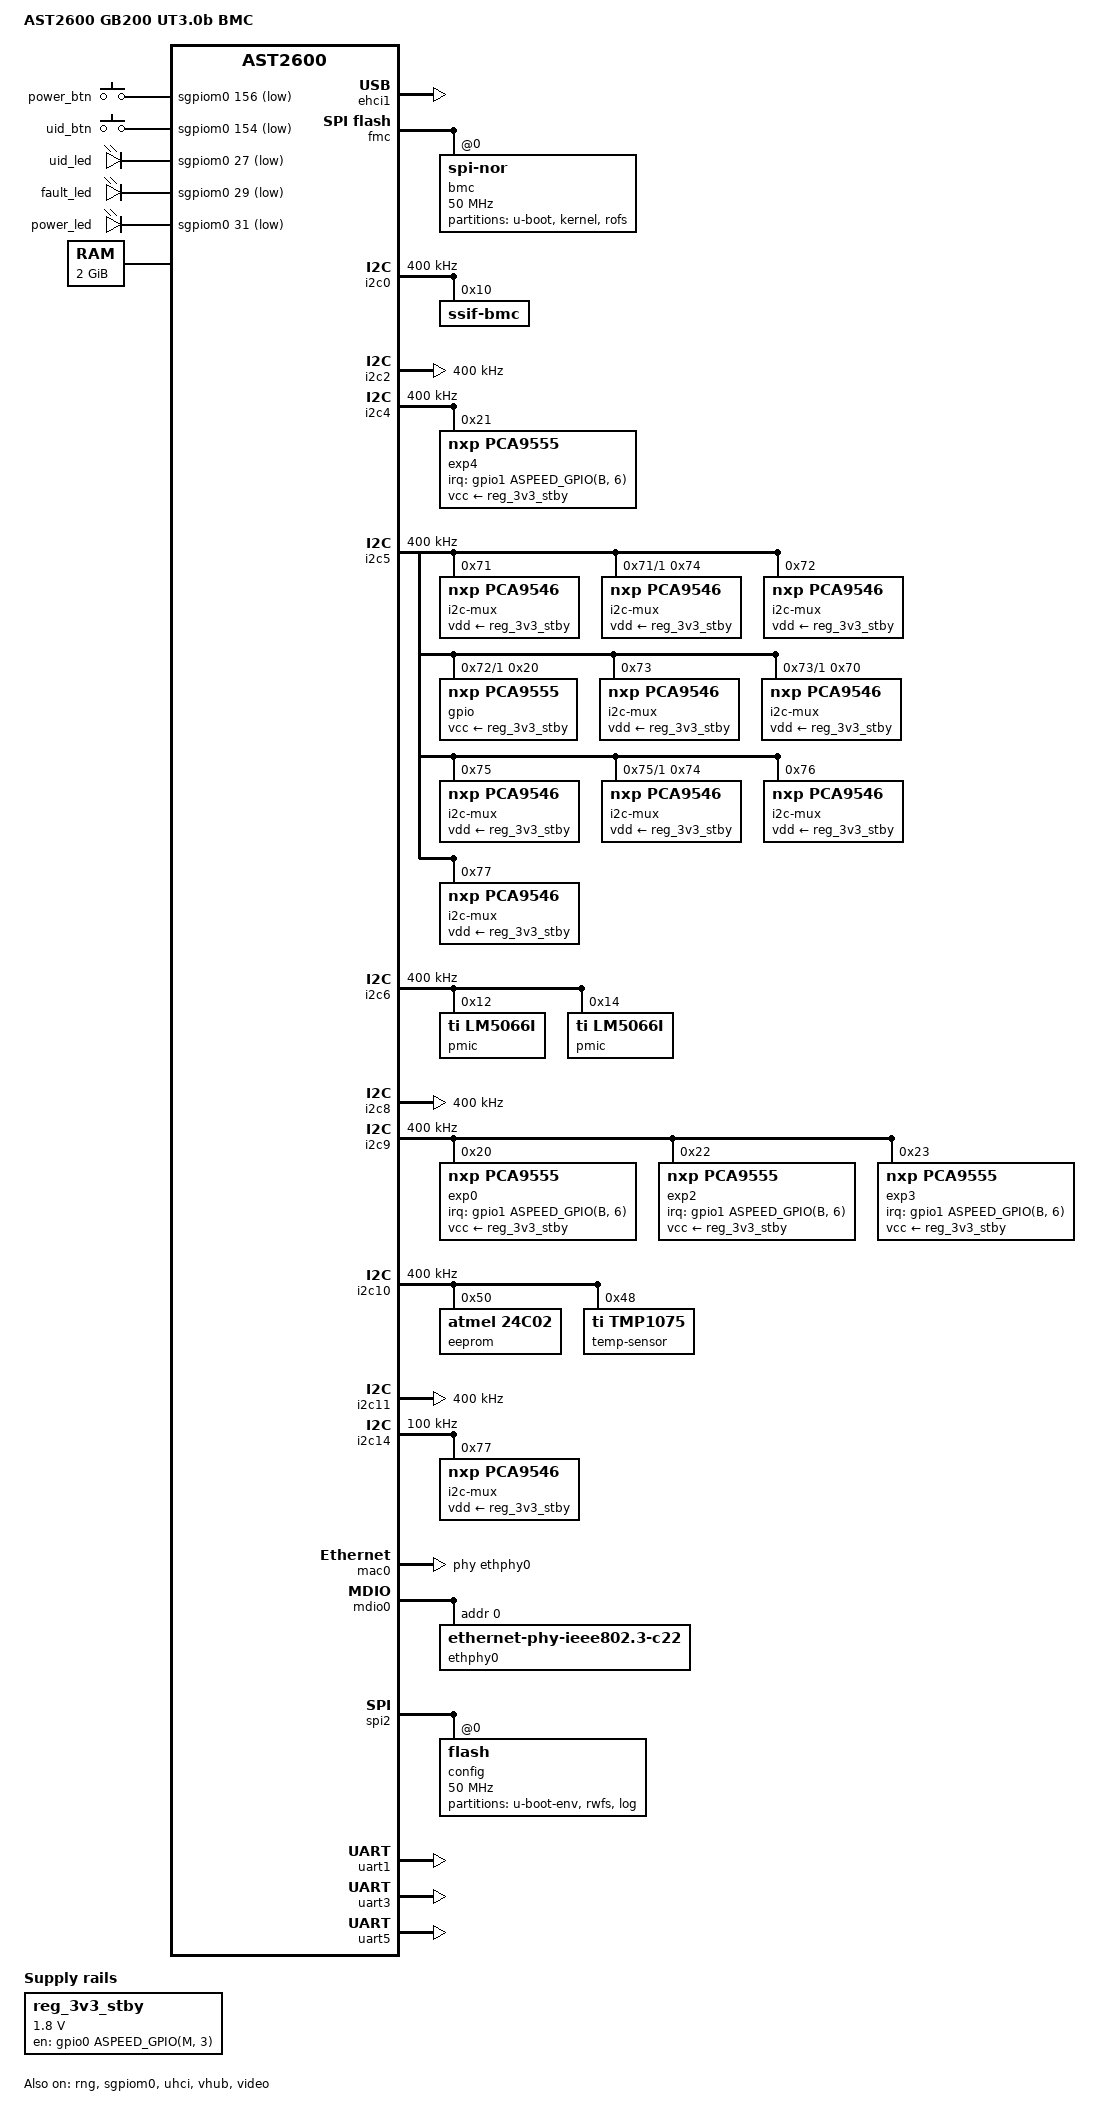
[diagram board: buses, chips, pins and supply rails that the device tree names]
// SPDX-License-Identifier: GPL-2.0+
/dts-v1/;

#include "aspeed-g6.dtsi"
#include <dt-bindings/gpio/aspeed-gpio.h>

/ {
	model = "AST2600 GB200 UT3.0b BMC";
	compatible = "nvidia,gb200-ut30b", "aspeed,ast2600";

	aliases {
		serial2 = &uart3;
		serial4 = &uart5;
		i2c16   = &imux16;
		i2c17   = &imux17;
		i2c18   = &imux18;
		i2c19   = &imux19;
		i2c20   = &imux20;
		i2c21   = &imux21;
		i2c22   = &imux22;
		i2c23   = &imux23;
		i2c24   = &imux24;
		i2c25   = &imux25;
		i2c26   = &imux26;
		i2c27   = &imux27;
		i2c28   = &imux28;
		i2c29   = &imux29;
		i2c30   = &imux30;
		i2c31   = &imux31;
		i2c32   = &imux32;
		i2c33   = &imux33;
		i2c34   = &imux34;
		i2c35   = &imux35;
		i2c36   = &imux36;
		i2c37   = &imux37;
		i2c38   = &imux38;
		i2c39   = &imux39;
		i2c40	= &e1si2c0;
		i2c41	= &e1si2c1;
		i2c42	= &e1si2c2;
		i2c43	= &e1si2c3;
		i2c48	= &i2c17mux0;
		i2c49	= &i2c17mux1;
		i2c50	= &i2c17mux2;
		i2c51	= &i2c17mux3;
		i2c52	= &i2c25mux0;
		i2c53	= &i2c25mux1;
		i2c54	= &i2c25mux2;
		i2c55	= &i2c25mux3;
		i2c56	= &i2c29mux0;
		i2c57	= &i2c29mux1;
		i2c58	= &i2c29mux2;
		i2c59	= &i2c29mux3;
	};

	buttons {
		compatible = "gpio-keys";
		button-power {
			label = "power_btn";
			linux,code = <116>;
			gpios = <&sgpiom0 156 GPIO_ACTIVE_LOW>;
		};
		button-uid {
			label = "uid_btn";
			linux,code = <478>;
			gpios = <&sgpiom0 154 GPIO_ACTIVE_LOW>;
		};
	};

	chosen {
		stdout-path = &uart5;
	};

	leds {
		compatible = "gpio-leds";
		led-0 {
			label = "uid_led";
			gpios = <&sgpiom0 27 GPIO_ACTIVE_LOW>;
		};
		led-1 {
			label = "fault_led";
			gpios = <&sgpiom0 29 GPIO_ACTIVE_LOW>;
		};
		led-2 {
			label = "power_led";
			gpios = <&sgpiom0 31 GPIO_ACTIVE_LOW>;
		};
	};

	memory@80000000 {
		device_type = "memory";
		reg = <0x80000000 0x80000000>;
	};

	reg_3v3_stby: regulator-3v3-standby {
		compatible = "regulator-fixed";
		regulator-name = "3v3-standby";
		regulator-min-microvolt = <1800000>;
		regulator-max-microvolt = <1800000>;
		gpio = <&gpio0 ASPEED_GPIO(M, 3) GPIO_ACTIVE_HIGH>;
		enable-active-high;
		regulator-always-on;
	};

	reserved-memory {
		#address-cells = <1>;
		#size-cells = <1>;
		ranges;

		gfx_memory: framebuffer {
			compatible = "shared-dma-pool";
			reusable;
			size = <0x01000000>;
			alignment = <0x01000000>;
		};

		ramoops@a0000000 {
			compatible = "ramoops";
			reg = <0xa0000000 0x100000>; /* 1MB */
			record-size = <0x10000>; /* 64KB */
			max-reason = <2>; /* KMSG_DUMP_OOPS */
		};

		vga_memory: framebuffer@9f000000 {
			no-map;
			reg = <0x9f000000 0x01000000>; /* 16M */
		};

		video_engine_memory: jpegbuffer {
			compatible = "shared-dma-pool";
			reusable;
			size = <0x02000000>;	/* 32M */
			alignment = <0x01000000>;
		};
	};
};

// USB Port B Controller
&ehci1 {
	status = "okay";
};

// Need custom layout for Root of Trust
&fmc {
	status = "okay";
	flash@0 {
		compatible = "jedec,spi-nor";
		label = "bmc";
		spi-max-frequency = <50000000>;
		status = "okay";
		partitions {
			compatible = "fixed-partitions";
			#address-cells = <1>;
			#size-cells = <1>;

			u-boot@0 {
				// 896KB
				reg = <0x0 0xe0000>;
				label = "u-boot";
			};

			kernel@100000 {
				// 9MB
				reg = <0x100000 0x900000>;
				label = "kernel";
			};

			rofs@a00000 {
				// 55292KB (extends to end of 64MB SPI - 4KB)
				reg = <0xa00000 0x35FF000>;
				label = "rofs";
			};
		};
	};
};

&gpio0 {
	gpio-line-names =
		/*A0-A7*/ "", "", "", "", "", "", "", "",
		/*B0-B7*/ "", "", "", "", "", "", "", "",
		/*C0-C7*/ "SGPIO_I2C_MUX_SEL-O", "", "", "", "", "", "", "",
		/*D0-D7*/ "", "", "", "UART1_MUX_SEL-O", "", "FPGA_PEX_RST_L-O", "", "",
		/*E0-E7*/ "RTL8221_PHY_RST_L-O", "RTL8211_PHY_INT_L-I",	"", "UART3_MUX_SEL-O",
					"", "", "", "SGPIO_BMC_EN-O",
		/*F0-F7*/ "", "", "", "", "", "", "", "",
		/*G0-G7*/ "", "", "", "", "", "", "", "",
		/*H0-H7*/ "", "", "", "", "", "", "", "",
		/*I0-I7*/ "", "", "", "", "", "QSPI2_RST_L-O", "GLOBAL_WP_BMC-O", "BMC_DDR4_TEN-O",
		/*J0-J7*/ "", "", "", "", "", "", "", "",
		/*K0-K7*/ "", "", "", "", "", "", "", "",
		/*L0-L7*/ "", "", "", "", "", "", "", "",
		/*M0-M7*/ "PCIE_EP_RST_EN-O", "BMC_FRU_WP-O", "FPGA_RST_L-O", "STBY_POWER_EN-O",
					"STBY_POWER_PG-I", "PCIE_EP_RST_L-O", "", "",
		/*N0-N7*/ "", "", "", "", "", "", "", "",
		/*O0-O7*/ "", "", "", "", "", "", "", "",
		/*P0-P7*/ "", "", "", "", "", "", "", "",
		/*Q0-Q7*/ "", "", "", "", "", "", "", "",
		/*R0-R7*/ "", "", "", "", "", "", "", "",
		/*S0-S7*/ "", "", "", "", "", "", "", "",
		/*T0-T7*/ "", "", "", "", "", "", "", "",
		/*U0-U7*/ "", "", "", "", "", "", "", "",
		/*V0-V7*/ "AP_EROT_REQ-O", "EROT_AP_GNT-I", "", "","PCB_TEMP_ALERT-I", "","", "",
		/*W0-W7*/ "", "", "", "", "", "", "", "",
		/*X0-X7*/ "", "", "TPM_MUX_SEL-O", "", "", "", "", "",
		/*Y0-Y7*/ "", "", "", "EMMC_RST-O", "","", "", "",
		/*Z0-Z7*/ "BMC_READY-O","", "", "", "", "", "", "";
};

&gpio1 {
	/* 36 1.8V GPIOs */
	gpio-line-names =
		/*A0-A7*/ "", "", "", "", "", "", "", "",
		/*B0-B7*/ "", "", "", "", "", "", "IO_EXPANDER_INT_L-I","",
		/*C0-C7*/ "", "", "", "", "", "", "", "",
		/*D0-D7*/ "", "", "", "", "", "", "SPI_HOST_TPM_RST_L-O", "SPI_BMC_FPGA_INT_L-I",
		/*E0-E7*/ "", "", "", "", "", "", "", "";
};

// I2C1, SSIF IPMI interface
&i2c0 {
	clock-frequency = <400000>;
	status = "okay";
	ssif-bmc@10 {
		compatible = "ssif-bmc";
		reg = <0x10>;
	};
};

// I2C3
// BMC_I2C0_FPGA - Primary FPGA
&i2c2 {
	clock-frequency = <400000>;
	multi-master;
	status = "okay";
};

// I2C5
// RTC Driver
// IO Expander
&i2c4 {
	clock-frequency = <400000>;
	status = "okay";
	// Module 0, Expander @0x21
	exp4: gpio@21 {
		compatible = "nxp,pca9555";
		reg = <0x21>;
		gpio-controller;
		#gpio-cells = <2>;
		interrupt-controller;
		#interrupt-cells = <2>;
		interrupt-parent = <&gpio1>;
		interrupts = <ASPEED_GPIO(B, 6) IRQ_TYPE_LEVEL_LOW>;
		vcc-supply = <&reg_3v3_stby>;
		gpio-line-names =
			"RTC_MUX_SEL-O",
			"PCI_MUX_SEL-O",
			"TPM_MUX_SEL-O",
			"FAN_MUX-SEL-O",
			"SGMII_MUX_SEL-O",
			"DP_MUX_SEL-O",
			"UPHY3_USB_SEL-O",
			"NCSI_MUX_SEL-O",
			"BMC_PHY_RST-O",
			"RTC_CLR_L-O",
			"BMC_12V_CTRL-O",
			"PS_RUN_IO0_PG-I",
			"",
			"",
			"",
			"";
	};
};

// I2C6
// Module 0/1 I2C MUX x3
&i2c5 {
	clock-frequency = <400000>;
	multi-master;
	status = "okay";

	i2c-mux@71 {
		compatible = "nxp,pca9546";
		reg = <0x71>;
		#address-cells = <1>;
		#size-cells = <0>;
		i2c-mux-idle-disconnect;
		vdd-supply = <&reg_3v3_stby>;

		imux16: i2c@0 {
			#address-cells = <1>;
			#size-cells = <0>;
			reg = <0>;
		};

		imux17: i2c@1 {
			#address-cells = <1>;
			#size-cells = <0>;
			reg = <1>;

			i2c-mux@74 {
				compatible = "nxp,pca9546";
				reg = <0x74>;
				#address-cells = <1>;
				#size-cells = <0>;
				i2c-mux-idle-disconnect;
				vdd-supply = <&reg_3v3_stby>;

				i2c17mux0: i2c@0 {
					#address-cells = <1>;
					#size-cells = <0>;
					reg = <0>;
				};

				i2c17mux1: i2c@1 {
					#address-cells = <1>;
					#size-cells = <0>;
					reg = <1>;
				};

				i2c17mux2: i2c@2 {
					#address-cells = <1>;
					#size-cells = <0>;
					reg = <2>;
				};

				i2c17mux3: i2c@3 {
					#address-cells = <1>;
					#size-cells = <0>;
					reg = <3>;
				};
			};
		};

		imux18: i2c@2 {
			#address-cells = <1>;
			#size-cells = <0>;
			reg = <2>;
		};

		imux19: i2c@3 {
			#address-cells = <1>;
			#size-cells = <0>;
			reg = <3>;
		};
	};

	i2c-mux@72 {
		compatible = "nxp,pca9546";
		reg = <0x72>;
		#address-cells = <1>;
		#size-cells = <0>;
		i2c-mux-idle-disconnect;
		vdd-supply = <&reg_3v3_stby>;

		imux20: i2c@0 {
			reg = <0>;
			#address-cells = <1>;
			#size-cells = <0>;
		};

		imux21: i2c@1 {
			reg = <1>;
			#address-cells = <1>;
			#size-cells = <0>;

			gpio@20 {
				compatible = "nxp,pca9555";
				reg = <0x20>;
				gpio-controller;
				#gpio-cells = <2>;
				vcc-supply = <&reg_3v3_stby>;
				gpio-line-names =
					"RST_CX_0_L-O",
					"RST_CX_1_L-O",
					"CX0_SSD0_PRSNT_L-I",
					"CX1_SSD1_PRSNT_L-I",
					"CX_BOOT_CMPLT_CX0-I",
					"CX_BOOT_CMPLT_CX1-I",
					"CX_TWARN_CX0_L-I",
					"CX_TWARN_CX1_L-I",
					"CX_OVT_SHDN_CX0-I",
					"CX_OVT_SHDN_CX1-I",
					"FNP_L_CX0-O",
					"FNP_L_CX1-O",
					"",
					"MCU_GPIO-I",
					"MCU_RST_N-O",
					"MCU_RECOVERY_N-O";
			};
		};

		imux22: i2c@2 {
			reg = <2>;
			#address-cells = <1>;
			#size-cells = <0>;
		};

		imux23: i2c@3 {
			reg = <3>;
			#address-cells = <1>;
			#size-cells = <0>;
		};
	};

	i2c-mux@73 {
		compatible = "nxp,pca9546";
		reg = <0x73>;
		#address-cells = <1>;
		#size-cells = <0>;
		i2c-mux-idle-disconnect;
		vdd-supply = <&reg_3v3_stby>;

		imux24: i2c@0 {
			reg = <0>;
			#address-cells = <1>;
			#size-cells = <0>;
		};

		imux25: i2c@1 {
			reg = <1>;
			#address-cells = <1>;
			#size-cells = <0>;

			i2c-mux@70 {
				compatible = "nxp,pca9546";
				reg = <0x70>;
				#address-cells = <1>;
				#size-cells = <0>;
				i2c-mux-idle-disconnect;
				vdd-supply = <&reg_3v3_stby>;

				i2c25mux0: i2c@0 {
					reg = <0>;
					#address-cells = <1>;
					#size-cells = <0>;
				};

				i2c25mux1: i2c@1 {
					reg = <1>;
					#address-cells = <1>;
					#size-cells = <0>;
				};

				i2c25mux2: i2c@2 {
					reg = <2>;
					#address-cells = <1>;
					#size-cells = <0>;
				};

				i2c25mux3: i2c@3 {
					reg = <3>;
					#address-cells = <1>;
					#size-cells = <0>;
				};
			};
		};

		imux26: i2c@2 {
			reg = <2>;
			#address-cells = <1>;
			#size-cells = <0>;
		};

		imux27: i2c@3 {
			reg = <3>;
			#address-cells = <1>;
			#size-cells = <0>;
		};
	};

	i2c-mux@75 {
		compatible = "nxp,pca9546";
		reg = <0x75>;
		#address-cells = <1>;
		#size-cells = <0>;
		i2c-mux-idle-disconnect;
		vdd-supply = <&reg_3v3_stby>;

		imux28: i2c@0 {
			reg = <0>;
			#address-cells = <1>;
			#size-cells = <0>;
		};

		imux29: i2c@1 {
			reg = <1>;
			#address-cells = <1>;
			#size-cells = <0>;

			i2c-mux@74 {
				compatible = "nxp,pca9546";
				reg = <0x74>;
				#address-cells = <1>;
				#size-cells = <0>;
				i2c-mux-idle-disconnect;
				vdd-supply = <&reg_3v3_stby>;

				i2c29mux0: i2c@0 {
					reg = <0>;
					#address-cells = <1>;
					#size-cells = <0>;
				};

				i2c29mux1: i2c@1 {
					reg = <1>;
					#address-cells = <1>;
					#size-cells = <0>;
				};

				i2c29mux2: i2c@2 {
					reg = <2>;
					#address-cells = <1>;
					#size-cells = <0>;
				};

				i2c29mux3: i2c@3 {
					reg = <3>;
					#address-cells = <1>;
					#size-cells = <0>;
				};
			};
		};

		imux30: i2c@2 {
			reg = <2>;
			#address-cells = <1>;
			#size-cells = <0>;
		};

		imux31: i2c@3 {
			reg = <3>;
			#address-cells = <1>;
			#size-cells = <0>;
		};
	};

	i2c-mux@76 {
		compatible = "nxp,pca9546";
		reg = <0x76>;
		#address-cells = <1>;
		#size-cells = <0>;
		i2c-mux-idle-disconnect;
		vdd-supply = <&reg_3v3_stby>;

		imux32: i2c@0 {
			reg = <0>;
			#address-cells = <1>;
			#size-cells = <0>;
		};

		imux33: i2c@1 {
			reg = <1>;
			#address-cells = <1>;
			#size-cells = <0>;
		};

		imux34: i2c@2 {
			reg = <2>;
			#address-cells = <1>;
			#size-cells = <0>;
		};

		imux35: i2c@3 {
			reg = <3>;
			#address-cells = <1>;
			#size-cells = <0>;
		};
	};

	i2c-mux@77 {
		compatible = "nxp,pca9546";
		reg = <0x77>;
		#address-cells = <1>;
		#size-cells = <0>;
		i2c-mux-idle-disconnect;
		vdd-supply = <&reg_3v3_stby>;

		imux36: i2c@0 {
			reg = <0>;
			#address-cells = <1>;
			#size-cells = <0>;
		};

		imux37: i2c@1 {
			reg = <1>;
			#address-cells = <1>;
			#size-cells = <0>;
		};

		imux38: i2c@2 {
			reg = <2>;
			#address-cells = <1>;
			#size-cells = <0>;
		};

		imux39: i2c@3 {
			reg = <3>;
			#address-cells = <1>;
			#size-cells = <0>;
		};
	};
};

// I2C7
// Module 0/1 Leak Sensors
// Module 0/1 Fan Controllers
&i2c6 {
	clock-frequency = <400000>;
	status = "okay";

	pmic@12 {
		compatible = "ti,lm5066i";
		reg = <0x12>;
		shunt-resistor-micro-ohms = <190>;
	};

	pmic@14 {
		compatible = "ti,lm5066i";
		reg = <0x14>;
		shunt-resistor-micro-ohms = <190>;
	};

	pwm@20 {
		compatible = "maxim,max31790";
		reg = <0x20>;
	};

	pwm@23 {
		compatible = "maxim,max31790";
		reg = <0x23>;
	};

	pwm@2c {
		compatible = "maxim,max31790";
		reg = <0x2c>;
	};

	pwm@2f {
		compatible = "maxim,max31790";
		reg = <0x2f>;
	};
};

// I2C9
// M.2
&i2c8 {
	clock-frequency = <400000>;
	multi-master;
	status = "okay";
};

// I2C10
// Module 0/1 IO Expanders
&i2c9 {
	clock-frequency = <400000>;
	status = "okay";

	// Module 0, Expander @0x20
	exp0: gpio@20 {
		compatible = "nxp,pca9555";
		reg = <0x20>;
		gpio-controller;
		#gpio-cells = <2>;
		interrupt-controller;
		#interrupt-cells = <2>;
		interrupt-parent = <&gpio1>;
		interrupts = <ASPEED_GPIO(B, 6) IRQ_TYPE_LEVEL_LOW>;
		vcc-supply = <&reg_3v3_stby>;
		gpio-line-names =
			"FPGA_THERM_OVERT_L-I",
			"FPGA_READY_BMC-I",
			"HMC_BMC_DETECT-O",
			"HMC_PGOOD-O",
			"",
			"BMC_STBY_CYCLE-O",
			"FPGA_EROT_FATAL_ERROR_L-I",
			"WP_HW_EXT_CTRL_L-O",
			"EROT_FPGA_RST_L-O",
			"FPGA_EROT_RECOVERY_L-O",
			"BMC_EROT_FPGA_SPI_MUX_SEL-O",
			"USB_HUB_RESET_L-O",
			"NCSI_CS1_SEL-O",
			"SGPIO_EN_L-O",
			"B2B_IOEXP_INT_L-I",
			"I2C_BUS_MUX_RESET_L-O";
	};

	// UT3.0b Expander @0x22
	exp2: gpio@22 {
		compatible = "nxp,pca9555";
		reg = <0x22>;
		gpio-controller;
		#gpio-cells = <2>;
		interrupt-controller;
		#interrupt-cells = <2>;
		interrupt-parent = <&gpio1>;
		interrupts = <ASPEED_GPIO(B, 6) IRQ_TYPE_LEVEL_LOW>;
		vcc-supply = <&reg_3v3_stby>;
		gpio-line-names =
			"BMC1_FANCTRL_FAIL_L-I",
			"IOEXP_BMC_RST_12V-O",
			"NODE_RST_STBY_H-O",
			"",
			"",
			"",
			"",
			"",
			"",
			"",
			"",
			"",
			"",
			"",
			"",
			"";
	};

	// UT3.0b Expander @0x23
	exp3: gpio@23 {
		compatible = "nxp,pca9555";
		reg = <0x23>;
		gpio-controller;
		#gpio-cells = <2>;
		interrupt-controller;
		#interrupt-cells = <2>;
		interrupt-parent = <&gpio1>;
		interrupts = <ASPEED_GPIO(B, 6) IRQ_TYPE_LEVEL_LOW>;
		vcc-supply = <&reg_3v3_stby>;
		gpio-line-names =
			"PEXSW_FL_SPI_MUX_SEL-O",
			"PEX_SW_FATAL_ERROR_3V3_L-I",
			"IOEXP_PDB_NODE_EN_L-O",
			"NODE_PWOK_ISO-I",
			"BMC_FAN_PWR_EN-O",
			"BMC_ETHERNET_INT-I",
			"BMC_ENET_RST-O",
			"IOEXP_BMC_RST_SENSE-O",
			"BMC_ID-I",
			"TPM_MUX_3V3_SEL_N-O",
			"IOEXP_TPM_RST_N-O",
			"TPM_DOWN_SPI_INT_L-I",
			"PS_BRD_PGOOD-I",
			"FP_BUTTON_POWER_N-I",
			"FP_BUTTON_RESET_N-I",
			"FP_LED_POWER_GPIOEXP_N-O";
	};
};

// I2C11
// BMC FRU EEPROM
// BMC Temp Sensor
&i2c10 {
	clock-frequency = <400000>;
	status = "okay";

	// BMC FRU EEPROM - 256 bytes
	eeprom@50 {
		compatible = "atmel,24c02";
		reg = <0x50>;
		pagesize = <8>;
	};

	temp-sensor@48 {
		compatible = "ti,tmp1075";
		reg = <0x48>;
	};
};

// I2C12
&i2c11 {
	clock-frequency = <400000>;
	status = "okay";
};

// I2C15
// Module 1 UPHY3 SMBus
&i2c14 {
	clock-frequency = <100000>;
	multi-master;
	status = "okay";

	//E1.S drive slot 0-3
	i2c-mux@77 {
		compatible = "nxp,pca9546";
		reg = <0x77>;
		#address-cells = <1>;
		#size-cells = <0>;
		i2c-mux-idle-disconnect;
		vdd-supply = <&reg_3v3_stby>;

		e1si2c0: i2c@0 {
			reg = <0>;
			#address-cells = <1>;
			#size-cells = <0>;
		};

		e1si2c1: i2c@1 {
			reg = <1>;
			#address-cells = <1>;
			#size-cells = <0>;
		};

		e1si2c2: i2c@2 {
			reg = <2>;
			#address-cells = <1>;
			#size-cells = <0>;
		};

		e1si2c3: i2c@3 {
			reg = <3>;
			#address-cells = <1>;
			#size-cells = <0>;
		};
	};
};

&mac0 {
	pinctrl-names = "default";
	phy-handle = <&ethphy0>;
	pinctrl-0 = <&pinctrl_rgmii1_default>;
	status = "okay";
};

&mdio0 {
	status = "okay";
	ethphy0: ethernet-phy@0 {
		compatible = "ethernet-phy-ieee802.3-c22";
		reg = <0>;
	};
};

&rng {
	status = "okay";
};

&sgpiom0 {
	ngpios = <128>;
	status = "okay";
	gpio-line-names =
		"","",
		"","",
		"","",
		"","",
		"","",
		"","",
		"","",
		"","",
		"RUN_POWER_FAULT_L-I","SYS_RST_IN_L-O",
		"RUN_POWER_PG-I","PWR_BRAKE_L-O",
		"SYS_RST_OUT_L-I","RUN_POWER_EN-O",
		"L0L1_RST_REQ_OUT_L-I","SHDN_FORCE_L-O",
		"L2_RST_REQ_OUT_L-I","SHDN_REQ_L-O",
		"SHDN_OK_L-I","UID_LED_N-O",
		"BMC_I2C1_FPGA_ALERT_L-I","SYS_FAULT_LED_N-O",
		"BMC_I2C0_FPGA_ALERT_L-I","PWR_LED_N-O",
		"FPGA_RSVD_FFU3-I","",
		"FPGA_RSVD_FFU2-I","",
		"FPGA_RSVD_FFU1-I","",
		"FPGA_RSVD_FFU0-I","BMC_I2C_SSIF_ALERT_L-O",
		"CPU_BOOT_DONE-I","JTAG_MUX_SELECT-O",
		"SPI_BMC_FPGA_INT_L-I","RTC_CLR_L-O",
		"THERM_BB_WARN_L-I","UART_MUX_SEL-O",
		"THERM_BB_OVERT_L-I","",
		"CPU0_UPHY3_PRSNT1_L-I","IOBRD0_RUN_POWER_EN-O",
		"CPU0_UPHY3_PRSNT0_L-I","IOBRD1_RUN_POWER_EN-O",
		"CPU0_UPHY2_PRSNT1_L-I","FPGA_RSVD_FFU4-O",
		"CPU0_UPHY2_PRSNT0_L-I","FPGA_RSVD_FFU5-O",
		"CPU0_UPHY1_PRSNT1_L-I","FPGA_RSVD_FFU6-O",
		"CPU0_UPHY1_PRSNT0_L-I","FPGA_RSVD_FFU7-O",
		"CPU0_UPHY0_PRSNT1_L-I","RSVD_NV_PLT_DETECT-O",
		"CPU0_UPHY0_PRSNT0_L-I","SPI1_INT_L-O",
		"CPU1_UPHY3_PRSNT1_L-I","",
		"CPU1_UPHY3_PRSNT0_L-I","HMC_EROT_MUX_STATUS",
		"CPU1_UPHY2_PRSNT1_L-I","",
		"CPU1_UPHY2_PRSNT0_L-I","",
		"CPU1_UPHY1_PRSNT1_L-I","",
		"CPU1_UPHY1_PRSNT0_L-I","",
		"CPU1_UPHY0_PRSNT1_L-I","",
		"CPU1_UPHY0_PRSNT0_L-I","",
		"FAN1_PRESENT_L-I","",
		"FAN0_PRESENT_L-I","",
		"","",
		"IPEX_CABLE_PRSNT_L-I","",
		"M2_1_PRSNT_L-I","",
		"M2_0_PRSNT_L-I","",
		"CPU1_UPHY4_PRSNT1_L-I","",
		"CPU0_UPHY4_PRSNT0_L-I","",
		"","",
		"I2C_RTC_ALERT_L-I","",
		"FAN7_PRESENT_L-I","",
		"FAN6_PRESENT_L-I","",
		"FAN5_PRESENT_L-I","",
		"FAN4_PRESENT_L-I","",
		"FAN3_PRESENT_L-I","",
		"FAN2_PRESENT_L-I","",
		"IOBRD0_IOX_INT_L-I","",
		"IOBRD1_PRSNT_L-I","",
		"IOBRD0_PRSNT_L-I","",
		"IOBRD1_PWR_GOOD-I","",
		"IOBRD0_PWR_GOOD-I","",
		"","",
		"","",
		"FAN_FAIL_IN_L-I","",
		"","",
		"","",
		"","",
		"PDB_CABLE_PRESENT_L-I","",
		"","",
		"CHASSIS_PWR_BRK_L-I","",
		"","",
		"IOBRD1_IOX_INT_L-I","",
		"10GBE_SMBALRT_L-I","",
		"PCIE_WAKE_L-I","",
		"I2C_M21_ALERT_L-I","",
		"I2C_M20_ALERT_L-I","",
		"TRAY_FAST_SHDN_L-I","",
		"UID_BTN_N-I","",
		"PWR_BTN_L-I","",
		"PSU_SMB_ALERT_L-I","",
		"","",
		"","",
		"NODE_LOC_ID[0]-I","",
		"NODE_LOC_ID[1]-I","",
		"NODE_LOC_ID[2]-I","",
		"NODE_LOC_ID[3]-I","",
		"NODE_LOC_ID[4]-I","",
		"NODE_LOC_ID[5]-I","",
		"FAN10_PRESENT_L-I","",
		"FAN9_PRESENT_L-I","",
		"FAN8_PRESENT_L-I","",
		"FPGA1_READY_HMC-I","",
		"DP_HPD-I","",
		"HMC_I2C3_FPGA_ALERT_L-I","",
		"HMC_I2C2_FPGA_ALERT_L-I","",
		"FPGA0_READY_HMC-I","",
		"","",
		"","",
		"","",
		"","",
		"LEAK_DETECT_ALERT_L-I","",
		"MOD1_B2B_CABLE_PRESENT_L-I","",
		"MOD1_CLINK_CABLE_PRESENT_L-I","",
		"FAN11_PRESENT_L-I","",
		"","",
		"","",
		"","",
		"","",
		"","",
		"","",
		"","",
		"","",
		"","",
		"","",
		"","",
		"","",
		"","",
		"","",
		"","",
		"","",
		"RSVD_SGPIO_IN_CRC[0]","RSVD_SGPIO_O_CRC[7]",
		"RSVD_SGPIO_IN_CRC[1]","RSVD_SGPIO_O_CRC[6]",
		"RSVD_SGPIO_IN_CRC[2]","RSVD_SGPIO_O_CRC[5]",
		"RSVD_SGPIO_IN_CRC[3]","RSVD_SGPIO_O_CRC[4]",
		"RSVD_SGPIO_IN_CRC[4]","RSVD_SGPIO_O_CRC[3]",
		"RSVD_SGPIO_IN_CRC[5]","RSVD_SGPIO_O_CRC[2]",
		"RSVD_SGPIO_IN_CRC[6]","RSVD_SGPIO_O_CRC[1]",
		"RSVD_SGPIO_IN_CRC[7]","RSVD_SGPIO_O_CRC[0]";
};

&spi2 {
	pinctrl-names = "default";
	pinctrl-0 = <&pinctrl_spi2_default>;
	status = "okay";
	// Data SPI is 64MB in size
	flash@0 {
		label = "config";
		spi-max-frequency = <50000000>;
		status = "okay";
		partitions {
			compatible = "fixed-partitions";
			#address-cells = <1>;
			#size-cells = <1>;

			u-boot-env@0 {
				// 256KB
				reg = <0x0 0x40000>;
				label = "u-boot-env";
			};

			rwfs@40000 {
				// 16MB
				reg = <0x40000 0x1000000>;
				label = "rwfs";
			};

			log@1040000 {
				// 40MB
				reg = <0x1040000 0x2800000>;
				label = "log";
			};
		};
	};
};

&uart1 {
	status = "okay";
};

// Enabling SOL
&uart3 {
	status = "okay";
};

// BMC Debug Console
&uart5 {
	status = "okay";
};

// USB Port B Controller
&uhci {
	status = "okay";
};

// USB port A vhub
&vhub {
	status = "okay";
};

&video {
	memory-region = <&video_engine_memory>;
	status = "okay";
};
